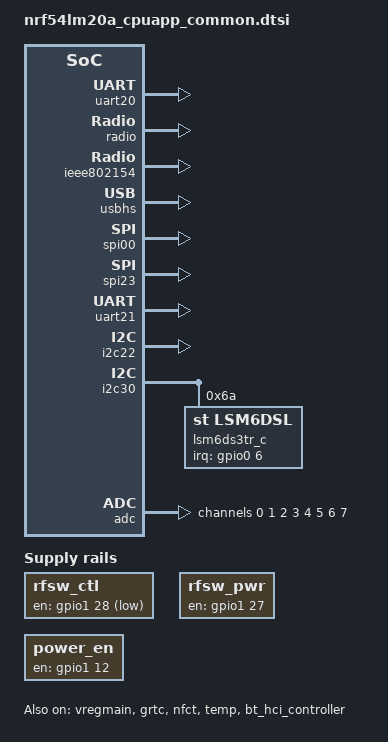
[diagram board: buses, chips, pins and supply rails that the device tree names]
/*
 * Copyright (c) 2025 Seeed Technology Co., Ltd.
 *
 * SPDX-License-Identifier: Apache-2.0
 */

/* This file is common to the secure and non-secure domain */

#include <nordic/nrf54lm20a_enga_cpuapp.dtsi>
#include "xiao_nrf54lm20a_nrf54lm20a-common.dtsi"

/ {
	rfsw_ctl: rfsw-ctl {
		compatible = "regulator-fixed";
		regulator-name = "rfsw-ctl";
		enable-gpios = <&gpio1 28 GPIO_ACTIVE_LOW>;
		regulator-boot-on;
	};

	rfsw_pwr: rfsw-pwr {
		compatible = "regulator-fixed";
		regulator-name = "rfsw-pwr";
		enable-gpios = <&gpio1 27 GPIO_ACTIVE_HIGH>;
		regulator-boot-on;
	};

	power_en: power_en {
		compatible = "regulator-fixed";
		regulator-name = "power_en";
		enable-gpios = <&gpio1 12 GPIO_ACTIVE_HIGH>;
		regulator-boot-on;
	};
	
	chosen {
		zephyr,console = &uart20;
		zephyr,shell-uart = &uart20;
		zephyr,uart-mcumgr = &uart20;
		zephyr,bt-mon-uart = &uart20;
		zephyr,bt-c2h-uart = &uart20;
		zephyr,flash-controller = &rram_controller;
		zephyr,flash = &cpuapp_rram;
		zephyr,bt-hci = &bt_hci_sdc;
		zephyr,ieee802154 = &ieee802154;
	};
};

&cpuapp_sram {
	status = "okay";
};

&hfpll {
	clock-frequency = <DT_FREQ_M(128)>;
};

&lfxo {
	load-capacitors = "internal";
	load-capacitance-femtofarad = <17000>;
};

&hfxo {
	load-capacitors = "internal";
	load-capacitance-femtofarad = <15000>;
};

&vregmain {
	status = "okay";
	regulator-initial-mode = <NRF5X_REG_MODE_DCDC>;
};

&grtc {
	owned-channels = <0 1 2 3 4 5 6 7 8 9 10 11>;
	/* Channels 7-11 reserved for Zero Latency IRQs, 3-4 for FLPR */
	child-owned-channels = <3 4 7 8 9 10 11>;
	status = "okay";
};

&cpuapp_rram {
	partitions {
		compatible = "fixed-partitions";
		#address-cells = <1>;
		#size-cells = <1>;

		boot_partition: partition@0 {
			label = "mcuboot";
			reg = <0x0 DT_SIZE_K(64)>;
		};

		slot0_partition: partition@10000 {
			label = "image-0";
			reg = <0x10000 DT_SIZE_K(449)>;
		};

		slot0_ns_partition: partition@80400 {
			label = "image-0-nonsecure";
			reg = <0x80400 DT_SIZE_K(449)>;
		};

		slot1_partition: partition@f0800 {
			label = "image-1";
			reg = <0xf0800 DT_SIZE_K(449)>;
		};

		slot1_ns_partition: partition@160c00 {
			label = "image-1-nonsecure";
			reg = <0x160c00 DT_SIZE_K(449)>;
		};

		storage_partition: partition@1d1000 {
			label = "storage";
			reg = <0x1d1000 DT_SIZE_K(36)>;
		};
	};
};

&uart20 {
	status = "okay";
};

&nfct {
	status = "okay";
};

&gpio0 {
	status = "okay";
};

&gpio1 {
	status = "okay";
};

&gpio2 {
	status = "okay";
};

&gpiote20 {
	status = "okay";
};

&gpiote30 {
	status = "okay";
};

&radio {
	status = "okay";
};

&temp {
	status = "okay";
};

&clock {
	status = "okay";
};

&bt_hci_controller {
	status = "okay";
};

&ieee802154 {
	status = "okay";
};

zephyr_udc0: &usbhs {
	status = "okay";
};

&spi00 {
	status = "okay";

	cs-gpios = <&gpio2 5 GPIO_ACTIVE_LOW>;
	pinctrl-0 = <&spi00_default>;
	pinctrl-1 = <&spi00_sleep>;
	pinctrl-names = "default", "sleep";

	py25q64: py25q64ha@0 {
		compatible = "jedec,spi-nor";
		status = "disabled";
		reg = <0>;
		spi-max-frequency = <133000000>;
		jedec-id = [85 20 17];
		sfdp-bfp = [
			e5 20 f9 ff /* DW0: 4KB Erase, Read Support */
			ff ff ff 03 /* DW1: Density 64Mbit */
			44 eb 08 6b /* DW2: 1-4-4 & 1-1-4 Fast Read Parameters */
			08 3b 80 bb /* DW3: 1-1-2 & 1-2-2 Fast Read Parameters */
			fe ff ff ff /* DW4: Read Support (4-4-4) */
			ff ff 00 ff /* DW5: Unused / 2-2-2 Parameters */
			ff ff 44 eb /* DW6: 4-4-4 Fast Read Parameters */
			0c 20 0f 52 /* DW7: Sector Type 1 (4KB, 20H), Type 2 (32KB, 52H) */
			10 d8 00 81 /* DW8: Sector Type 3 (64KB, D8H), Type 4 (00H, 81H) */
		];
		size = <0x8000000>;
		has-dpd;
		t-enter-dpd = <3000>;
		t-exit-dpd = <30000>;
		requires-ulbpr;
		use-fast-read;
		wp-gpios = <&gpio2 3 GPIO_ACTIVE_LOW>;
	};
};

&spi23 {
	status = "okay";
};

&uart21 {
	status = "okay";
};

&i2c22 {
	status = "okay";
};

&i2c30 {
	status = "okay";

	lsm6ds3tr_c: lsm6ds3tr-c@6a {
		compatible = "st,lsm6dsl";
		reg = <0x6a>;
		irq-gpios = <&gpio0 6 GPIO_ACTIVE_HIGH>;
		status = "okay";
	};
};

&adc {
	status = "okay";
};

&adc {
	#address-cells = <1>;
	#size-cells = <0>;

	channel@0 {
		reg = <0>;
		zephyr,gain = "ADC_GAIN_1_4";
		zephyr,reference = "ADC_REF_INTERNAL";
		zephyr,acquisition-time = <ADC_ACQ_TIME_DEFAULT>;
		zephyr,input-positive = <NRF_SAADC_AIN0>;
		zephyr,resolution = <12>;
		zephyr,oversampling = <8>;
	};

	channel@1 {
		reg = <1>;
		zephyr,gain = "ADC_GAIN_1_4";
		zephyr,reference = "ADC_REF_INTERNAL";
		zephyr,acquisition-time = <ADC_ACQ_TIME_DEFAULT>;
		zephyr,input-positive = <NRF_SAADC_AIN1>;
		zephyr,resolution = <12>;
		zephyr,oversampling = <8>;
	};

	channel@2 {
		reg = <2>;
		zephyr,gain = "ADC_GAIN_1_4";
		zephyr,reference = "ADC_REF_INTERNAL";
		zephyr,acquisition-time = <ADC_ACQ_TIME_DEFAULT>;
		zephyr,input-positive = <NRF_SAADC_AIN2>;
		zephyr,resolution = <12>;
		zephyr,oversampling = <8>;
	};

	channel@3 {
		reg = <3>;
		zephyr,gain = "ADC_GAIN_1_4";
		zephyr,reference = "ADC_REF_INTERNAL";
		zephyr,acquisition-time = <ADC_ACQ_TIME_DEFAULT>;
		zephyr,input-positive = <NRF_SAADC_AIN3>;
		zephyr,resolution = <12>;
		zephyr,oversampling = <8>;
	};

	channel@4 {
		reg = <4>;
		zephyr,gain = "ADC_GAIN_1_4";
		zephyr,reference = "ADC_REF_INTERNAL";
		zephyr,acquisition-time = <ADC_ACQ_TIME_DEFAULT>;
		zephyr,input-positive = <NRF_SAADC_AIN4>;
		zephyr,resolution = <12>;
		zephyr,oversampling = <8>;
	};

	channel@5 {
		reg = <5>;
		zephyr,gain = "ADC_GAIN_1_4";
		zephyr,reference = "ADC_REF_INTERNAL";
		zephyr,acquisition-time = <ADC_ACQ_TIME_DEFAULT>;
		zephyr,input-positive = <NRF_SAADC_AIN5>;
		zephyr,resolution = <12>;
		zephyr,oversampling = <8>;
	};

	channel@6 {
		reg = <6>;
		zephyr,gain = "ADC_GAIN_1_4";
		zephyr,reference = "ADC_REF_INTERNAL";
		zephyr,acquisition-time = <ADC_ACQ_TIME_DEFAULT>;
		zephyr,input-positive = <NRF_SAADC_AIN6>;
		zephyr,resolution = <12>;
		zephyr,oversampling = <8>;
	};

	channel@7 {
		reg = <7>;
		zephyr,gain = "ADC_GAIN_1_4";
		zephyr,reference = "ADC_REF_INTERNAL";
		zephyr,acquisition-time = <ADC_ACQ_TIME_DEFAULT>;
		zephyr,input-positive = <NRF_SAADC_AIN7>;
		zephyr,resolution = <12>;
		zephyr,oversampling = <8>;
	};
};
